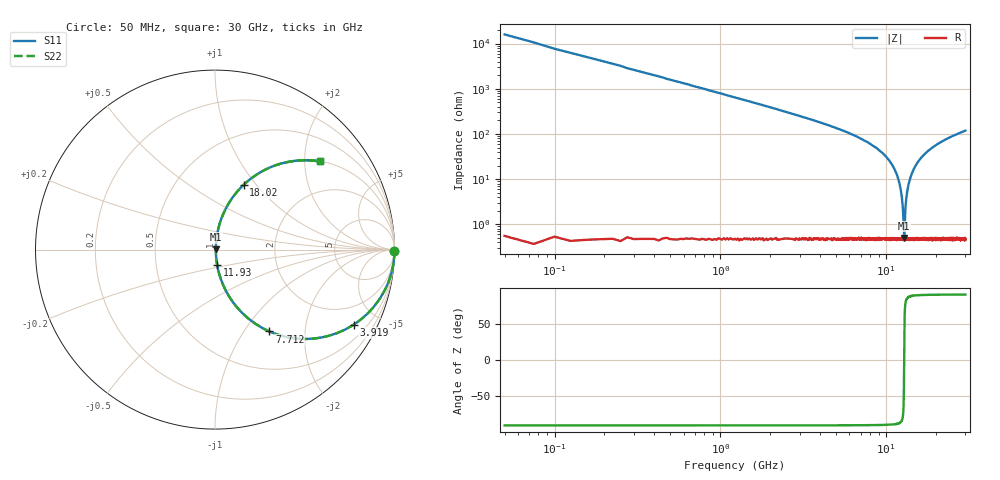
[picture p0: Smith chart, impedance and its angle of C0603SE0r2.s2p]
!	AVX Thin Film Operation 	Date: April 2014
!	Description: Accu-P® Series, Thin Film  SMD RF Capacitor
!	Part Number: 06031J0R2ZBSTR
# MHZ S MA R 50
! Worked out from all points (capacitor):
!   1201 points, 50 MHz to 30 GHz, reference 50 ohm
!   read as one part in series: C = 200 fF near 199.8 MHz
!   lowest |Z| = 502 mohm at 12.83 GHz (marker M1)
!   series resonance near 12.82 GHz, so ESL is about 770 pH
!   S11 on the Smith chart (normalised r, x): 50 MHz: open; 3.919 GHz: 1.01, -3.68; 7.712 GHz: 1.01, -1.32; 11.93 GHz: 1.01, -0.18; 18.02 GHz: 1.01, +0.86; 30 GHz: 1.01, +2.38
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50  1 -0.4  0.006283 89.6  0.006283 89.6  1 -0.4
249.667  1 -1.8  0.031 88.2  0.031 88.2  1 -1.8
399.417  0.999 -2.9  0.05 87.1  0.05 87.1  0.999 -2.9
998.417  0.992 -7.2  0.125 82.8  0.125 82.8  0.992 -7.2
2171.458  0.962 -15.7  0.27 74.2  0.27 74.2  0.962 -15.7
3918.542  0.878 -28.5  0.477 61.4  0.477 61.4  0.878 -28.5
5041.667  0.799 -36.8  0.599 53.0  0.599 53.0  0.799 -36.8
7712.208  0.548 -56.4  0.833 33.2  0.833 33.2  0.548 -56.4
10058.29  0.29 -72.3  0.953 16.8  0.953 16.8  0.29 -72.3
11156.46  0.17 -78.7  0.981 9.8  0.981 9.8  0.17 -78.7
11930.17  0.088 -81.9  0.991 5.1  0.991 5.1  0.088 -81.9
12404.38  0.041 -81.0  0.994 2.3  0.994 2.3  0.041 -81.0
12728.83  0.009728 -60.5  0.995 0.5  0.995 0.5  0.009728 -60.5
12828.67  0.004857 13.6  0.995 -0.1  0.995 -0.1  0.004857 13.6
13178.08  0.035 80.2  0.995 -2.0  0.995 -2.0  0.035 80.2
13502.54  0.064 82.1  0.993 -3.7  0.993 -3.7  0.064 82.1
14101.54  0.118 81.0  0.988 -6.7  0.988 -6.7  0.118 81.0
15025  0.194 77.5  0.976 -11.2  0.976 -11.2  0.194 77.5
18020  0.395 66.1  0.915 -23.2  0.915 -23.2  0.395 66.1
20016.67  0.495 59.9  0.865 -29.7  0.865 -29.7  0.495 59.9
25033.29  0.665 48.0  0.743 -41.7  0.743 -41.7  0.665 48.0
30000  0.764 40.0  0.643 -49.8  0.643 -49.8  0.764 40.0
